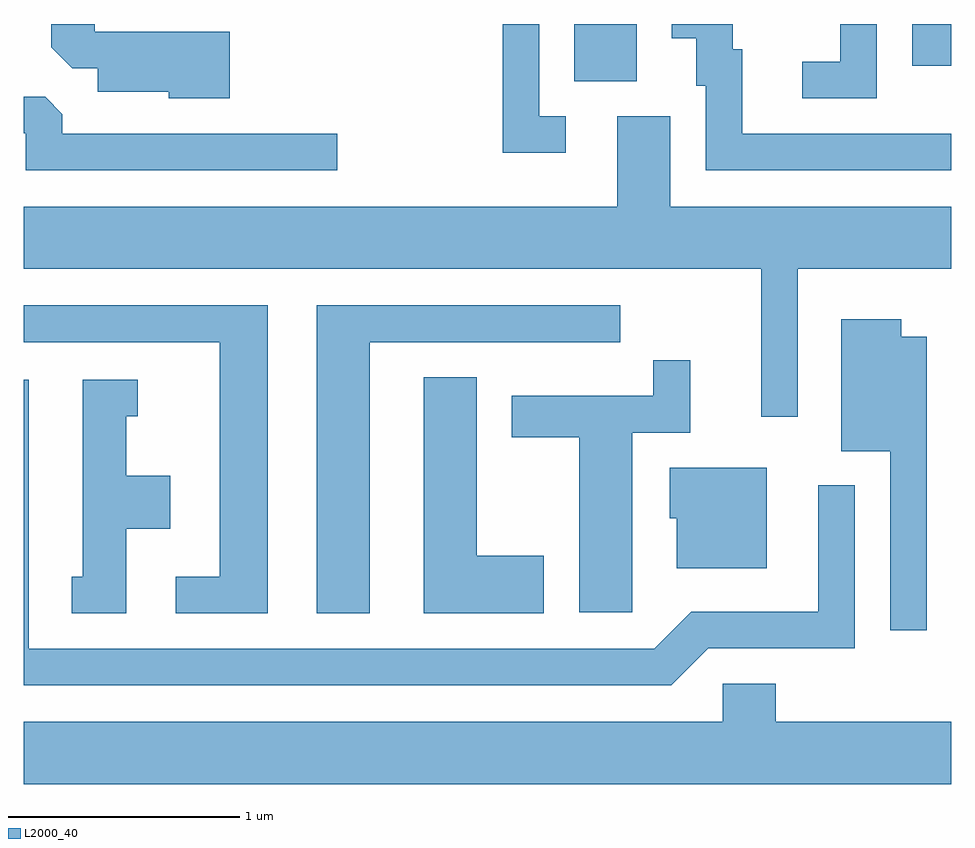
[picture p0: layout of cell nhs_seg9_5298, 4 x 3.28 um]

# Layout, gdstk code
import gdstk
lib = gdstk.Library(unit=1e-6, precision=1e-09)
def R(c, l, rs):  # rectangles x0, y0, x1, y1
    for r in rs: c.add(gdstk.rectangle(r[:2], r[2:], *l))
def P(c, l, *ps):  # polygons
    for p in ps: c.add(gdstk.Polygon(p, *l))
L2000_40 = (2000, 40)

nhs_seg9_5298 = lib.new_cell('nhs_seg9_5298')
R(nhs_seg9_5298, L2000_40, [(343.986,1988.186,344.254,1988.432), (345.441,1988.251,345.611,1988.432)])
P(nhs_seg9_5298, L2000_40, [(345.289,1988.432),(345.131,1988.432),(345.131,1988.269),(344.968,1988.269),(344.968,1988.111),(345.289,1988.111)],
  [(345.611,1987.959),(344.709,1987.959),(344.709,1988.324),(344.669,1988.324),(344.669,1988.432),(344.406,1988.432),(344.406,1988.371),(344.511,1988.371),(344.511,1988.166),(344.551,1988.166),(344.551,1987.801),(345.611,1987.801)],
  [(343.948,1988.034),(343.834,1988.034),(343.834,1988.432),(343.676,1988.432),(343.676,1987.876),(343.948,1987.876)],
  [(342.499,1988.399),(341.919,1988.399),(341.919,1988.432),(341.731,1988.432),(341.731,1988.332),(341.822,1988.241),(341.931,1988.241),(341.931,1988.141),(342.236,1988.141),(342.236,1988.111),(342.499,1988.111)],
  [(342.963,1987.959),(341.779,1987.959),(341.779,1988.044),(341.704,1988.119),(341.611,1988.119),(341.611,1987.961),(341.621,1987.961),(341.621,1987.801),(342.963,1987.801)],
  [(344.949,1987.376),(345.611,1987.376),(345.611,1987.644),(344.399,1987.644),(344.399,1988.034),(344.171,1988.034),(344.171,1987.644),(341.611,1987.644),(341.611,1987.376),(344.791,1987.376),(344.791,1986.738),(344.949,1986.738)],
  [(343.104,1987.061),(344.183,1987.061),(344.183,1987.219),(342.876,1987.219),(342.876,1985.891),(343.104,1985.891)],
  [(342.664,1987.219),(341.611,1987.219),(341.611,1987.061),(342.456,1987.061),(342.456,1986.049),(342.268,1986.049),(342.268,1985.891),(342.664,1985.891)],
  [(345.504,1987.084),(345.394,1987.084),(345.394,1987.159),(345.136,1987.159),(345.136,1986.591),(345.346,1986.591),(345.346,1985.818),(345.504,1985.818)],
  [(344.234,1986.671),(344.484,1986.671),(344.484,1986.983),(344.326,1986.983),(344.326,1986.829),(343.716,1986.829),(343.716,1986.651),(344.006,1986.651),(344.006,1985.896),(344.234,1985.896)],
  [(343.854,1986.139),(343.564,1986.139),(343.564,1986.909),(343.336,1986.909),(343.336,1985.891),(343.854,1985.891)],
  [(342.054,1986.256),(342.244,1986.256),(342.244,1986.484),(342.054,1986.484),(342.054,1986.741),(342.103,1986.741),(342.103,1986.899),(341.866,1986.899),(341.866,1986.049),(341.818,1986.049),(341.818,1985.891),(342.054,1985.891)],
  [(344.562,1985.741),(345.194,1985.741),(345.194,1986.443),(345.036,1986.443),(345.036,1985.899),(344.489,1985.899),(344.329,1985.739),(341.634,1985.739),(341.634,1986.899),(341.611,1986.899),(341.611,1985.581),(344.402,1985.581)],
  [(344.814,1986.519),(344.396,1986.519),(344.396,1986.301),(344.426,1986.301),(344.426,1986.086),(344.814,1986.086)],
  [(345.611,1985.424),(344.854,1985.424),(344.854,1985.589),(344.626,1985.589),(344.626,1985.424),(341.611,1985.424),(341.611,1985.156),(345.611,1985.156)])

lib.write_gds('nhs_seg9_5298.gds')
